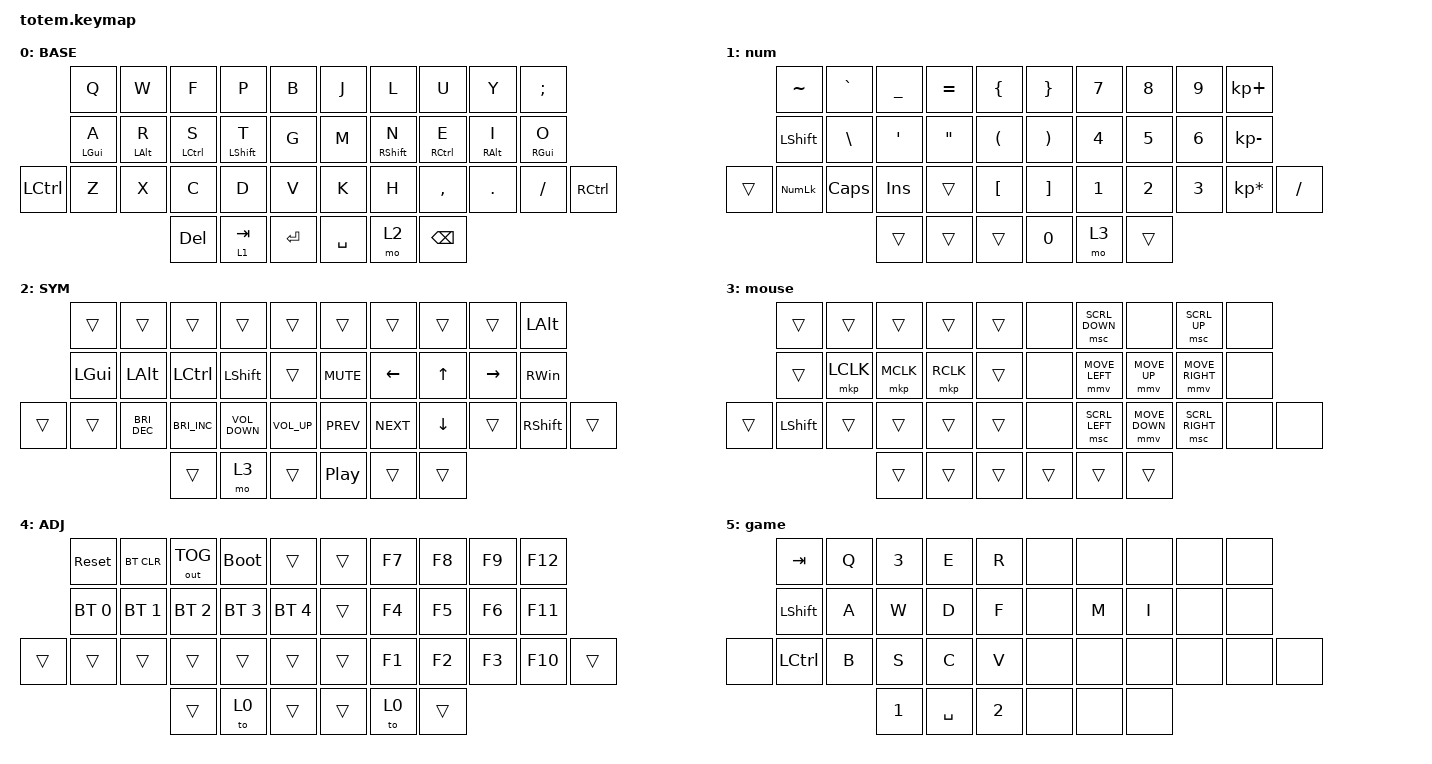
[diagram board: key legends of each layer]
//
//                                                        ▀▀▀▀▀     ▀▀▀▀▀          ▀▀█▀▀
//                                                        ▄▀▀▀▄  ▄  ▄▀▀▀▄  ▄  ▄▀▀▀▄  █  ▄▀▀▀▄
//                                                        █   █  █  █   █  █  █   █  █  █   █
//                                                         ▀▀▀   █   ▀▀▀   █   ▀▀▀   ▀   ▀▀▀
//                                                               █      ▄▄▄█▄▄▄    █   █  
//                                                               ▀      █  █  █     █▄█
//                                                             ▀▀▀▀▀    █  █  █      ▀
//                                                                      ▀  ▀  ▀
//
// ▄▄▄▄▄▄▄▄▄▄▄▄▄▄▄▄▄▄▄▄▄▄▄▄▄▄▄▄▄▄▄▄▄▄▄▄▄▄▄▄▄▄▄▄▄▄▄▄▄▄▄▄▄▄▄▄▄▄▄▄▄▄▄▄▄▄▄▄▄▄▄▄▄▄▄▄▄▄▄▄▄▄▄▄▄▄▄▄▄▄▄▄▄▄▄▄▄▄▄▄▄▄▄▄▄▄▄▄▄▄▄▄▄▄▄▄▄▄▄▄▄▄▄▄▄▄▄▄▄▄▄▄▄▄▄▄▄▄▄▄▄▄▄▄▄▄▄▄▄

#include <behaviors.dtsi>
#include <dt-bindings/zmk/bt.h>
#include <dt-bindings/zmk/keys.h>
#include <dt-bindings/zmk/outputs.h>
#include <dt-bindings/zmk/pointing.h>

#define BASE 0
#define NAV  1
#define SYM  2
#define ADJ  3
#define TVP1 4
#define TVP2 5

&mt {
    quick-tap-ms = <100>;
    global-quick-tap;
    flavor = "balanced";
    tapping-term-ms = <250>;
};

&mmv {
};

&msc {
};

/ {
    combos {
        compatible = "zmk,combos";

        combo_esc {
            timeout-ms = <50>;
            key-positions = <0 1>;
            bindings = <&kp ESC>;
        };

        combo_tvp {
            timeout-ms = <100>;
            key-positions = <11 12 13>;
            bindings = <&tog 4>;
        };

        game {
            bindings = <&tog 5>;
            key-positions = <16 17 18>;
        };
    };

    keymap {
        compatible = "zmk,keymap";

        // ▄▄▄▄▄▄▄▄▄▄▄▄▄▄▄▄▄▄▄▄▄▄▄▄▄▄▄▄▄▄▄▄▄▄▄▄▄▄▄▄▄▄▄▄▄▄▄▄▄▄▄▄▄▄▄▄▄▄▄▄▄▄▄▄▄▄▄▄▄▄▄▄▄▄▄▄▄▄▄▄▄▄▄▄▄▄▄▄▄▄▄▄▄▄▄▄▄▄▄▄▄▄▄▄▄▄▄▄▄▄▄▄▄▄▄▄▄▄▄▄▄▄▄▄▄▄▄▄▄▄▄▄▄▄▄▄▄▄▄▄▄▄▄▄▄▄▄▄▄

        base_layer {
            // ┏━━━━━━━━━━━━━━━━━━━━━━━━━━━━━━━━━━━━━━━┓

            label = "BASE";

            // ┗━━━━━━━━━━━━━━━━━━━━━━━━━━━━━━━━━━━━━━━┛
            //             ┏━━━━━━━━━━━┳━━━━━━━━━━━┳━━━━━━━━━━━┳━━━━━━━━━━━┳━━━━━━━━━━━┓   ┏━━━━━━━━━━━┳━━━━━━━━━━━┳━━━━━━━━━━━┳━━━━━━━━━━━┳━━━━━━━━━━━┓
            //             ┃     Q     ┃     W     ┃     F     ┃     P     ┃     B     ┃   ┃     J     ┃     L     ┃     U     ┃     Y     ┃     ;     ┃
            //             ┣━━━━━━━━━━━╋━━━━━━━━━━━╋━━━━━━━━━━━╋━━━━━━━━━━━╋━━━━━━━━━━━┫   ┣━━━━━━━━━━━╋━━━━━━━━━━━╋━━━━━━━━━━━╋━━━━━━━━━━━╋━━━━━━━━━━━┫
            //             ┃     A     ┃     R     ┃     S     ┃     T     ┃     G     ┃   ┃     M     ┃     N     ┃     E     ┃     I     ┃     O     ┃
            // ┏━━━━━━━━━━━╋━━━━━━━━━━━╋━━━━━━━━━━━╋━━━━━━━━━━━╋━━━━━━━━━━━╋━━━━━━━━━━━┫   ┣━━━━━━━━━━━╋━━━━━━━━━━━╋━━━━━━━━━━━╋━━━━━━━━━━━╋━━━━━━━━━━━╋━━━━━━━━━━━┓
            // ┃     Q     ┃     Z     ┃     X     ┃     C     ┃     D     ┃     V     ┃   ┃     K     ┃     H     ┃     ,     ┃     .     ┃     /     ┃     \     ┃
            // ┗━━━━━━━━━━━┻━━━━━━━━━━━┻━━━━━━━━━━━╋━━━━━━━━━━━╋━━━━━━━━━━━╋━━━━━━━━━━━┫   ┣━━━━━━━━━━━╋━━━━━━━━━━━╋━━━━━━━━━━━╋━━━━━━━━━━━┻━━━━━━━━━━━┻━━━━━━━━━━━┛
            //                                     ┃    DEL    ┃    TAB    ┃    SPC    ┃   ┃   ENTER   ┃    ESC    ┃   BSPC    ┃
            //                                     ┗━━━━━━━━━━━┻━━━━━━━━━━━┻━━━━━━━━━━━┛   ┗━━━━━━━━━━━┻━━━━━━━━━━━┻━━━━━━━━━━━┛

            bindings = <
           &kp Q       &kp W       &kp F        &kp P        &kp B        &kp J      &kp L        &kp U        &kp Y       &kp SEMI
           &mt LGUI A  &mt LALT R  &mt LCTRL S  &mt LSHFT T  &kp G        &kp M      &mt RSHFT N  &mt RCTRL E  &mt RALT I  &mt RGUI O
&kp LCTRL  &kp Z       &kp X       &kp C        &kp D        &kp V        &kp K      &kp H        &kp COMMA    &kp DOT     &kp FSLH    &kp RCTRL
                                   &kp DEL      &lt 1 TAB    &kp ENTER    &kp SPACE  &mo 2        &kp BSPC
            >;
        };

        num_layer {
            // ┏━━━━━━━━━━━━━━━━━━━━━━━━━━━━━━━━━━━━━━━┓

            label = "num";

            // ┗━━━━━━━━━━━━━━━━━━━━━━━━━━━━━━━━━━━━━━━┛
            //             ┏━━━━━━━━━━━┳━━━━━━━━━━━┳━━━━━━━━━━━┳━━━━━━━━━━━┳━━━━━━━━━━━┓   ┏━━━━━━━━━━━┳━━━━━━━━━━━┳━━━━━━━━━━━┳━━━━━━━━━━━┳━━━━━━━━━━━┓
            //             ┃           ┃           ┃     UP    ┃           ┃     {     ┃   ┃     }     ┃     7     ┃     8     ┃     9     ┃     +     ┃
            //             ┣━━━━━━━━━━━╋━━━━━━━━━━━╋━━━━━━━━━━━╋━━━━━━━━━━━╋━━━━━━━━━━━┫   ┣━━━━━━━━━━━╋━━━━━━━━━━━╋━━━━━━━━━━━╋━━━━━━━━━━━╋━━━━━━━━━━━┫
            //             ┃   SHIFT   ┃   LEFT    ┃    DOWN   ┃   RIGHT   ┃     [     ┃   ┃     ]     ┃     4     ┃     5     ┃     6     ┃     -     ┃
            // ┏━━━━━━━━━━━╋━━━━━━━━━━━╋━━━━━━━━━━━╋━━━━━━━━━━━╋━━━━━━━━━━━╋━━━━━━━━━━━┫   ┣━━━━━━━━━━━╋━━━━━━━━━━━╋━━━━━━━━━━━╋━━━━━━━━━━━╋━━━━━━━━━━━╋━━━━━━━━━━━┓
            // ┃           ┃           ┃   P UP    ┃  C LOCK   ┃  P DOWN   ┃     (     ┃   ┃     )     ┃     1     ┃     2     ┃     3     ┃     *     ┃           ┃
            // ┗━━━━━━━━━━━┻━━━━━━━━━━━┻━━━━━━━━━━━╋━━━━━━━━━━━╋━━━━━━━━━━━╋━━━━━━━━━━━┫   ┣━━━━━━━━━━━╋━━━━━━━━━━━╋━━━━━━━━━━━╋━━━━━━━━━━━┻━━━━━━━━━━━┻━━━━━━━━━━━┛
            //                                     ┃           ┃    TAB    ┃    SPC    ┃   ┃    DEL    ┃     0     ┃           ┃
            //                                     ┗━━━━━━━━━━━┻━━━━━━━━━━━┻━━━━━━━━━━━┛   ┗━━━━━━━━━━━┻━━━━━━━━━━━┻━━━━━━━━━━━┛

            bindings = <
        &kp TILDE   &kp GRAVE      &kp UNDERSCORE  &kp EQUAL          &kp LBRC                &kp RBRC           &kp NUMBER_7  &kp NUMBER_8  &kp NUMBER_9  &kp KP_PLUS
        &kp LSHFT   &kp BACKSLASH  &kp SQT         &kp DOUBLE_QUOTES  &kp LEFT_PARENTHESIS    &kp RPAR           &kp NUMBER_4  &kp NUMBER_5  &kp NUMBER_6  &kp KP_MINUS
&trans  &kp KP_NUM  &kp CAPS       &kp INSERT      &trans             &kp LEFT_BRACKET        &kp RIGHT_BRACKET  &kp NUMBER_1  &kp NUMBER_2  &kp NUMBER_3  &kp KP_MULTIPLY  &kp SLASH
                                   &trans          &trans             &trans                  &kp NUMBER_0       &mo 3         &trans
            >;
        };

        sim_layer {
            // ┏━━━━━━━━━━━━━━━━━━━━━━━━━━━━━━━━━━━━━━━┓

            label = "SYM";

            // ┗━━━━━━━━━━━━━━━━━━━━━━━━━━━━━━━━━━━━━━━┛
            //             ┏━━━━━━━━━━━┳━━━━━━━━━━━┳━━━━━━━━━━━┳━━━━━━━━━━━┳━━━━━━━━━━━┓   ┏━━━━━━━━━━━┳━━━━━━━━━━━┳━━━━━━━━━━━┳━━━━━━━━━━━┳━━━━━━━━━━━┓
            //             ┃     !     ┃     @     ┃     #     ┃     $     ┃     %     ┃   ┃     ˆ     ┃     &     ┃     Ü     ┃     '     ┃     "     ┃
            //             ┣━━━━━━━━━━━╋━━━━━━━━━━━╋━━━━━━━━━━━╋━━━━━━━━━━━╋━━━━━━━━━━━┫   ┣━━━━━━━━━━━╋━━━━━━━━━━━╋━━━━━━━━━━━╋━━━━━━━━━━━╋━━━━━━━━━━━┫
            //             ┃     Ä     ┃           ┃    SZ     ┃           ┃           ┃   ┃   MUTE    ┃   YEN     ┃   EURO    ┃  POUND    ┃     Ö     ┃
            // ┏━━━━━━━━━━━╋━━━━━━━━━━━╋━━━━━━━━━━━╋━━━━━━━━━━━╋━━━━━━━━━━━╋━━━━━━━━━━━┫   ┣━━━━━━━━━━━╋━━━━━━━━━━━╋━━━━━━━━━━━╋━━━━━━━━━━━╋━━━━━━━━━━━╋━━━━━━━━━━━┓
            // ┃           ┃  EMAIL1   ┃  EMAIL2   ┃           ┃           ┃           ┃   ┃   VOL-    ┃   VOL+    ┃   LAST    ┃   NEXT    ┃     \     ┃           ┃
            // ┗━━━━━━━━━━━┻━━━━━━━━━━━┻━━━━━━━━━━━╋━━━━━━━━━━━╋━━━━━━━━━━━╋━━━━━━━━━━━┫   ┣━━━━━━━━━━━╋━━━━━━━━━━━╋━━━━━━━━━━━╋━━━━━━━━━━━┻━━━━━━━━━━━┻━━━━━━━━━━━┛
            //                                     ┃           ┃    GIF    ┃    ADJ    ┃   ┃           ┃           ┃           ┃
            //                                     ┗━━━━━━━━━━━┻━━━━━━━━━━━┻━━━━━━━━━━━┛   ┗━━━━━━━━━━━┻━━━━━━━━━━━┻━━━━━━━━━━━┛

            bindings = <
        &trans        &trans                &trans                &trans             &trans             &trans      &trans      &trans        &trans     &kp LEFT_ALT
        &kp LEFT_GUI  &kp LEFT_ALT          &kp LCTRL             &kp LEFT_SHIFT     &trans             &kp C_MUTE  &kp LEFT    &kp UP_ARROW  &kp RIGHT  &kp RWIN
&trans  &trans        &kp C_BRIGHTNESS_DEC  &kp C_BRIGHTNESS_INC  &kp C_VOLUME_DOWN  &kp C_VOLUME_UP    &kp C_PREV  &kp C_NEXT  &kp DOWN      &trans     &kp RIGHT_SHIFT  &trans
                                            &trans                &mo 3              &trans             &kp C_PP    &trans      &trans
            >;
        };

        Mouse {
            // ┏━━━━━━━━━━━━━━━━━━━━━━━━━━━━━━━━━━━━━━━┓

            label = "mouse";

            // ┗━━━━━━━━━━━━━━━━━━━━━━━━━━━━━━━━━━━━━━━┛
            //             ┏━━━━━━━━━━━┳━━━━━━━━━━━┳━━━━━━━━━━━┳━━━━━━━━━━━┳━━━━━━━━━━━┓   ┏━━━━━━━━━━━┳━━━━━━━━━━━┳━━━━━━━━━━━┳━━━━━━━━━━━┳━━━━━━━━━━━┓
            //             ┃ NEXT FILE ┃ MARK IN   ┃ ROTATE    ┃ MARK OUT  ┃ SHOW SNAP ┃   ┃           ┃           ┃           ┃           ┃           ┃
            //             ┣━━━━━━━━━━━╋━━━━━━━━━━━╋━━━━━━━━━━━╋━━━━━━━━━━━╋━━━━━━━━━━━┫   ┣━━━━━━━━━━━╋━━━━━━━━━━━╋━━━━━━━━━━━╋━━━━━━━━━━━╋━━━━━━━━━━━┫
            //             ┃ TVP II    ┃ LEFT      ┃ PAN       ┃ RIGHT     ┃ PLAY/FLIP ┃   ┃           ┃           ┃           ┃           ┃           ┃
            // ┏━━━━━━━━━━━╋━━━━━━━━━━━╋━━━━━━━━━━━╋━━━━━━━━━━━╋━━━━━━━━━━━╋━━━━━━━━━━━┫   ┣━━━━━━━━━━━╋━━━━━━━━━━━╋━━━━━━━━━━━╋━━━━━━━━━━━╋━━━━━━━━━━━╋━━━━━━━━━━━┓
            // ┃ FULLSCR   ┃ SHIFT     ┃ COPY      ┃ DELETE    ┃ PASTE     ┃ IMG MARK  ┃   ┃           ┃           ┃           ┃           ┃           ┃           ┃
            // ┗━━━━━━━━━━━┻━━━━━━━━━━━┻━━━━━━━━━━━╋━━━━━━━━━━━╋━━━━━━━━━━━╋━━━━━━━━━━━┫   ┣━━━━━━━━━━━╋━━━━━━━━━━━╋━━━━━━━━━━━╋━━━━━━━━━━━┻━━━━━━━━━━━┻━━━━━━━━━━━┛
            //                                     ┃           ┃ UNDO/SAVE ┃  SEL/MOV  ┃   ┃           ┃           ┃           ┃
            //                                     ┗━━━━━━━━━━━┻━━━━━━━━━━━┻━━━━━━━━━━━┛   ┗━━━━━━━━━━━┻━━━━━━━━━━━┻━━━━━━━━━━━┛

            bindings = <
        &trans     &trans     &trans     &trans     &trans    &none   &msc SCRL_DOWN  &none           &msc SCRL_UP     &none
        &trans     &mkp LCLK  &mkp MCLK  &mkp RCLK  &trans    &none   &mmv MOVE_LEFT  &mmv MOVE_UP    &mmv MOVE_RIGHT  &none
&trans  &kp LSHFT  &trans     &trans     &trans     &trans    &none   &msc SCRL_LEFT  &mmv MOVE_DOWN  &msc SCRL_RIGHT  &none  &none
                              &trans     &trans     &trans    &trans  &trans          &trans
            >;
        };

        adjust_layer {
            // ┏━━━━━━━━━━━━━━━━━━━━━━━━━━━━━━━━━━━━━━━┓

            label = "ADJ";

            // ┗━━━━━━━━━━━━━━━━━━━━━━━━━━━━━━━━━━━━━━━┛
            //             ┏━━━━━━━━━━━┳━━━━━━━━━━━┳━━━━━━━━━━━┳━━━━━━━━━━━┳━━━━━━━━━━━┓   ┏━━━━━━━━━━━┳━━━━━━━━━━━┳━━━━━━━━━━━┳━━━━━━━━━━━┳━━━━━━━━━━━┓
            //             ┃   RESET   ┃ BT CLEAR  ┃  OUT TOG  ┃           ┃           ┃   ┃           ┃    F7     ┃    F8     ┃    F9     ┃    F12    ┃
            //             ┣━━━━━━━━━━━╋━━━━━━━━━━━╋━━━━━━━━━━━╋━━━━━━━━━━━╋━━━━━━━━━━━┫   ┣━━━━━━━━━━━╋━━━━━━━━━━━╋━━━━━━━━━━━╋━━━━━━━━━━━╋━━━━━━━━━━━┫
            //             ┃ BOOTLOAD  ┃ BT NEXT   ┃           ┃           ┃           ┃   ┃           ┃    F4     ┃    F5     ┃    F6     ┃    F11    ┃
            // ┏━━━━━━━━━━━╋━━━━━━━━━━━╋━━━━━━━━━━━╋━━━━━━━━━━━╋━━━━━━━━━━━╋━━━━━━━━━━━┫   ┣━━━━━━━━━━━╋━━━━━━━━━━━╋━━━━━━━━━━━╋━━━━━━━━━━━╋━━━━━━━━━━━╋━━━━━━━━━━━┓
            // ┃           ┃           ┃ BT PREV   ┃           ┃           ┃           ┃   ┃           ┃    F1     ┃    F2     ┃    F3     ┃    F10    ┃           ┃
            // ┗━━━━━━━━━━━┻━━━━━━━━━━━┻━━━━━━━━━━━╋━━━━━━━━━━━╋━━━━━━━━━━━╋━━━━━━━━━━━┫   ┣━━━━━━━━━━━╋━━━━━━━━━━━╋━━━━━━━━━━━╋━━━━━━━━━━━┻━━━━━━━━━━━┻━━━━━━━━━━━┛
            //                                     ┃           ┃           ┃           ┃   ┃           ┃           ┃           ┃
            //                                     ┗━━━━━━━━━━━┻━━━━━━━━━━━┻━━━━━━━━━━━┛   ┗━━━━━━━━━━━┻━━━━━━━━━━━┻━━━━━━━━━━━┛

            bindings = <
        &sys_reset    &bt BT_CLR    &out OUT_TOG  &bootloader   &trans          &trans  &kp F7  &kp F8  &kp F9  &kp F12
        &bt BT_SEL 0  &bt BT_SEL 1  &bt BT_SEL 2  &bt BT_SEL 3  &bt BT_SEL 4    &trans  &kp F4  &kp F5  &kp F6  &kp F11
&trans  &trans        &trans        &trans        &trans        &trans          &trans  &kp F1  &kp F2  &kp F3  &kp F10  &trans
                                    &trans        &to 0         &trans          &trans  &to 0   &trans
            >;
        };

        game {
            bindings = <
       &kp TAB    &kp Q  &kp N3  &kp E      &kp R     &none  &none  &none  &none  &none
       &kp LSHFT  &kp A  &kp W   &kp D      &kp F     &none  &kp M  &kp I  &none  &none
&none  &kp LCTRL  &kp B  &kp S   &kp C      &kp V     &none  &none  &none  &none  &none  &none
                         &kp N1  &kp SPACE  &kp N2    &none  &none  &none
            >;
        };

        // ▄▄▄▄▄▄▄▄▄▄▄▄▄▄▄▄▄▄▄▄▄▄▄▄▄▄▄▄▄▄▄▄▄▄▄▄▄▄▄▄▄▄▄▄▄▄▄▄▄▄▄▄▄▄▄▄▄▄▄▄▄▄▄▄▄▄▄▄▄▄▄▄▄▄▄▄▄▄▄▄▄▄▄▄▄▄▄▄▄▄▄▄▄▄▄▄▄▄▄▄▄▄▄▄▄▄▄▄▄▄▄▄▄▄▄▄▄▄▄▄▄▄▄▄▄▄▄▄▄▄▄▄▄▄▄▄▄▄▄▄▄▄▄▄▄▄▄▄▄
    };
};
